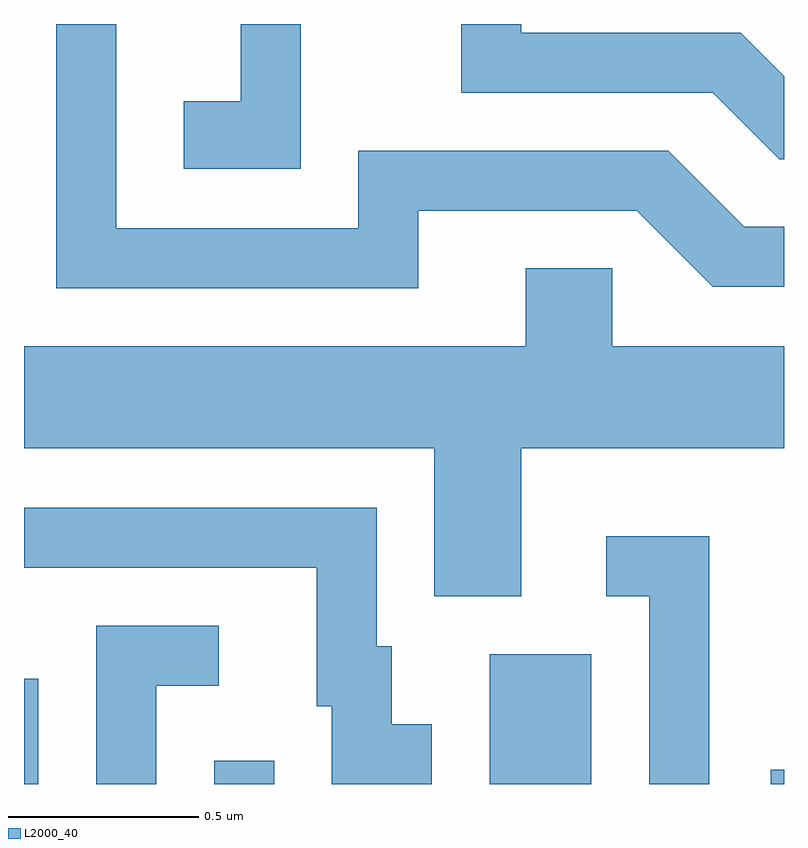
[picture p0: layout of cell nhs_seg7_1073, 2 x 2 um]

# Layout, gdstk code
import gdstk
lib = gdstk.Library(unit=1e-6, precision=1e-09)
def R(c, l, rs):  # rectangles x0, y0, x1, y1
    for r in rs: c.add(gdstk.rectangle(r[:2], r[2:], *l))
def P(c, l, *ps):  # polygons
    for p in ps: c.add(gdstk.Polygon(p, *l))
L2000_40 = (2000, 40)

nhs_seg7_1073 = lib.new_cell('nhs_seg7_1073')
R(nhs_seg7_1073, L2000_40, [(192.611,1782.252,192.649,1782.529), (193.111,1782.252,193.269,1782.313), (193.836,1782.252,194.104,1782.594), (194.576,1782.252,194.611,1782.289)])
P(nhs_seg7_1073, L2000_40, [(194.611,1784.115),(194.497,1784.229),(193.919,1784.229),(193.919,1784.252),(193.761,1784.252),(193.761,1784.071),(194.424,1784.071),(194.599,1783.896),(194.611,1783.896)],
  [(193.649,1783.761),(194.224,1783.761),(194.424,1783.561),(194.611,1783.561),(194.611,1783.719),(194.507,1783.719),(194.307,1783.919),(193.491,1783.919),(193.491,1783.714),(192.854,1783.714),(192.854,1784.252),(192.696,1784.252),(192.696,1783.556),(193.649,1783.556)],
  [(193.339,1784.252),(193.181,1784.252),(193.181,1784.049),(193.031,1784.049),(193.031,1783.871),(193.339,1783.871)],
  [(193.919,1783.136),(194.611,1783.136),(194.611,1783.404),(194.159,1783.404),(194.159,1783.609),(193.931,1783.609),(193.931,1783.404),(192.611,1783.404),(192.611,1783.136),(193.691,1783.136),(193.691,1782.746),(193.919,1782.746)],
  [(193.684,1782.409),(193.579,1782.409),(193.579,1782.614),(193.539,1782.614),(193.539,1782.979),(192.611,1782.979),(192.611,1782.821),(193.381,1782.821),(193.381,1782.456),(193.421,1782.456),(193.421,1782.252),(193.684,1782.252)],
  [(194.414,1782.904),(194.143,1782.904),(194.143,1782.746),(194.256,1782.746),(194.256,1782.252),(194.414,1782.252)],
  [(192.959,1782.511),(193.123,1782.511),(193.123,1782.669),(192.801,1782.669),(192.801,1782.252),(192.959,1782.252)])

lib.write_gds('nhs_seg7_1073.gds')
